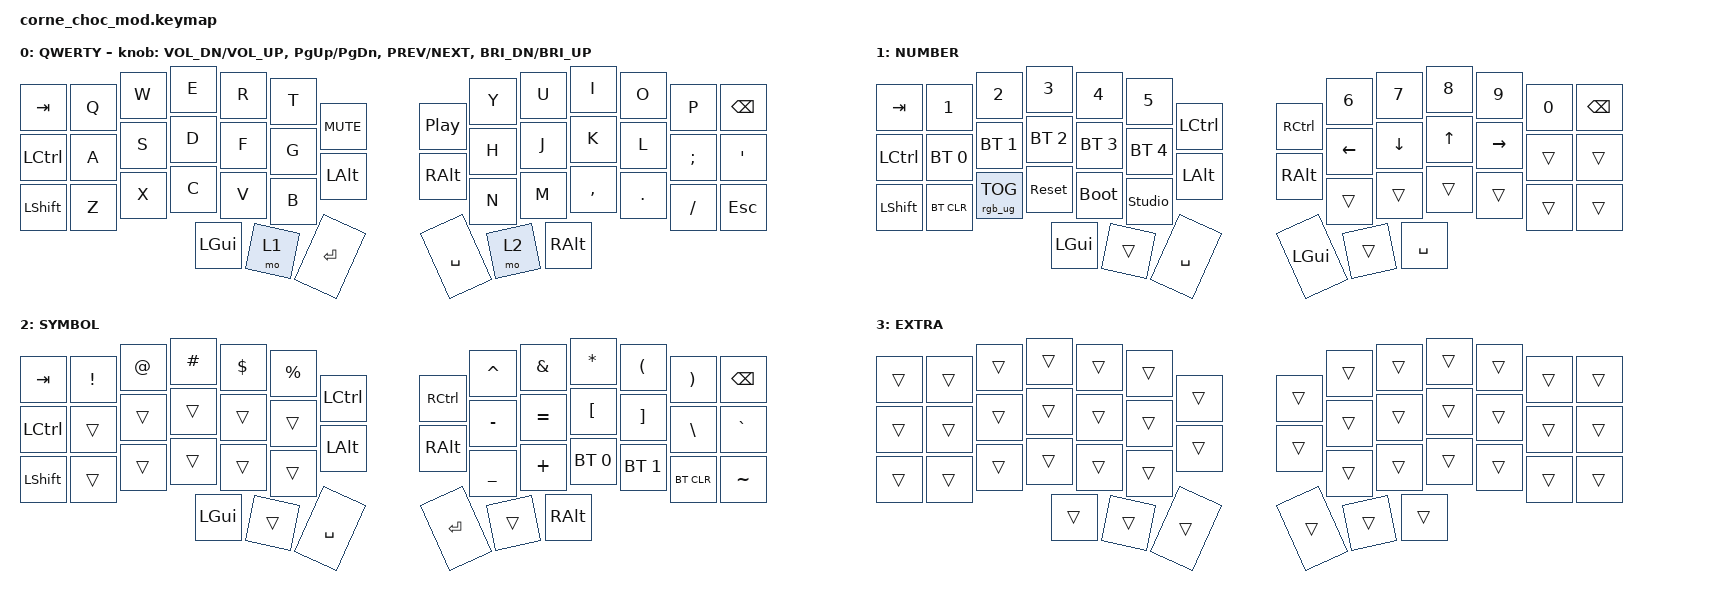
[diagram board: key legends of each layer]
/*
 * Copyright (c) 2020 The ZMK Contributors
 *
 * SPDX-License-Identifier: MIT
 */

#include <behaviors.dtsi>
#include <dt-bindings/zmk/bt.h>
#include <dt-bindings/zmk/keys.h>
#include <dt-bindings/zmk/rgb.h>

/ {
    chosen { zmk,physical-layout = &default_layout; };
};

/ {
    keymap {
        compatible = "zmk,keymap";

        default_layer {
            display-name = "QWERTY";
            bindings = <
&kp TAB    &kp Q  &kp W  &kp E     &kp R  &kp T    &kp C_MUTE  &kp C_PP  &kp Y      &kp U  &kp I      &kp O    &kp P     &kp BSPC
&kp LCTRL  &kp A  &kp S  &kp D     &kp F  &kp G    &kp LALT    &kp RALT  &kp H      &kp J  &kp K      &kp L    &kp SEMI  &kp SQT
&kp LSHFT  &kp Z  &kp X  &kp C     &kp V  &kp B                          &kp N      &kp M  &kp COMMA  &kp DOT  &kp FSLH  &kp ESC
                         &kp LGUI  &mo 1  &kp RET                        &kp SPACE  &mo 2  &kp RALT
            >;

            sensor-bindings = <&inc_dec_kp C_VOL_DN C_VOL_UP &inc_dec_kp PG_UP PG_DN &inc_dec_kp C_PREV C_NEXT &inc_dec_kp C_BRI_DN C_BRI_UP>;
        };

        lower_layer {
            display-name = "NUMBER";
            bindings = <
&kp TAB    &kp N1        &kp N2           &kp N3        &kp N4        &kp N5          &kp LCTRL  &kp RCTRL  &kp N6    &kp N7    &kp N8     &kp N9     &kp N0  &kp BSPC
&kp LCTRL  &bt BT_SEL 0  &bt BT_SEL 1     &bt BT_SEL 2  &bt BT_SEL 3  &bt BT_SEL 4    &kp LALT   &kp RALT   &kp LEFT  &kp DOWN  &kp UP     &kp RIGHT  &trans  &trans
&kp LSHFT  &bt BT_CLR    &rgb_ug RGB_TOG  &sys_reset    &bootloader   &studio_unlock                        &trans    &trans    &trans     &trans     &trans  &trans
                                          &kp LGUI      &trans        &kp SPACE                             &kp LGUI  &trans    &kp SPACE
            >;
        };

        raise_layer {
            display-name = "SYMBOL";
            bindings = <
&kp TAB    &kp EXCL  &kp AT  &kp HASH  &kp DLLR  &kp PRCNT  &kp LCTRL  &kp RCTRL  &kp CARET  &kp AMPS   &kp ASTRK     &kp LPAR      &kp RPAR    &kp BSPC
&kp LCTRL  &trans    &trans  &trans    &trans    &trans     &kp LALT   &kp RALT   &kp MINUS  &kp EQUAL  &kp LBKT      &kp RBKT      &kp BSLH    &kp GRAVE
&kp LSHFT  &trans    &trans  &trans    &trans    &trans                           &kp UNDER  &kp PLUS   &bt BT_SEL 0  &bt BT_SEL 1  &bt BT_CLR  &kp TILDE
                             &kp LGUI  &trans    &kp SPACE                        &kp RET    &trans     &kp RALT
            >;
        };

        extra_layer_1 {
            display-name = "EXTRA";
            bindings = <
&trans  &trans  &trans  &trans  &trans  &trans  &trans  &trans  &trans  &trans  &trans  &trans  &trans  &trans
&trans  &trans  &trans  &trans  &trans  &trans  &trans  &trans  &trans  &trans  &trans  &trans  &trans  &trans
&trans  &trans  &trans  &trans  &trans  &trans                  &trans  &trans  &trans  &trans  &trans  &trans
                        &trans  &trans  &trans                  &trans  &trans  &trans
            >;
        };
    };
};
